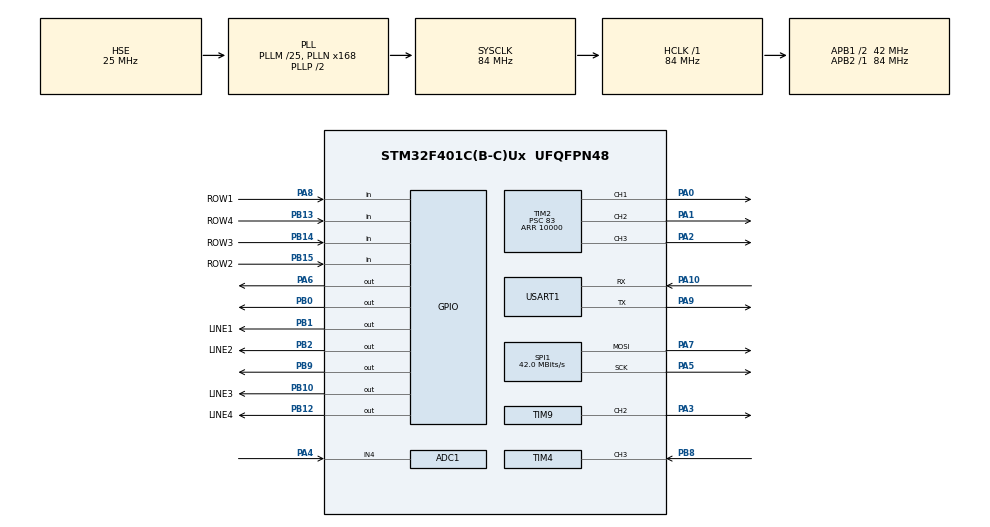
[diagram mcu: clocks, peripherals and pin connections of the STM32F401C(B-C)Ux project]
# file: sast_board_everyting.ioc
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ADC1.Channel-0\#ChannelRegularConversion=ADC_CHANNEL_4
ADC1.ClockPrescaler=ADC_CLOCK_SYNC_PCLK_DIV8
ADC1.ContinuousConvMode=DISABLE
ADC1.NbrOfConversionFlag=1
ADC1.Rank-0\#ChannelRegularConversion=1
ADC1.SamplingTime-0\#ChannelRegularConversion=ADC_SAMPLETIME_3CYCLES
ADC1.master=1
Dma.ADC1.0.Direction=DMA_PERIPH_TO_MEMORY
Dma.ADC1.0.FIFOMode=DMA_FIFOMODE_DISABLE
Dma.ADC1.0.Instance=DMA2_Stream0
Dma.ADC1.0.MemDataAlignment=DMA_MDATAALIGN_WORD
Dma.ADC1.0.MemInc=DMA_MINC_ENABLE
Dma.ADC1.0.Mode=DMA_NORMAL
Dma.ADC1.0.PeriphDataAlignment=DMA_PDATAALIGN_WORD
Dma.ADC1.0.PeriphInc=DMA_PINC_DISABLE
Dma.ADC1.0.Priority=DMA_PRIORITY_LOW
Dma.Request0=ADC1
Dma.Request1=USART1_RX
Dma.Request2=USART1_TX
Dma.USART1_RX.1.Direction=DMA_PERIPH_TO_MEMORY
Dma.USART1_RX.1.FIFOMode=DMA_FIFOMODE_DISABLE
Dma.USART1_RX.1.Instance=DMA2_Stream2
Dma.USART1_RX.1.MemDataAlignment=DMA_MDATAALIGN_BYTE
Dma.USART1_RX.1.MemInc=DMA_MINC_ENABLE
Dma.USART1_RX.1.Mode=DMA_NORMAL
Dma.USART1_RX.1.PeriphDataAlignment=DMA_PDATAALIGN_BYTE
Dma.USART1_RX.1.PeriphInc=DMA_PINC_DISABLE
Dma.USART1_RX.1.Priority=DMA_PRIORITY_LOW
Dma.USART1_TX.2.Direction=DMA_MEMORY_TO_PERIPH
Dma.USART1_TX.2.FIFOMode=DMA_FIFOMODE_DISABLE
Dma.USART1_TX.2.Instance=DMA2_Stream7
Dma.USART1_TX.2.MemDataAlignment=DMA_MDATAALIGN_BYTE
Dma.USART1_TX.2.MemInc=DMA_MINC_ENABLE
Dma.USART1_TX.2.Mode=DMA_NORMAL
Dma.USART1_TX.2.PeriphDataAlignment=DMA_PDATAALIGN_BYTE
Dma.USART1_TX.2.PeriphInc=DMA_PINC_DISABLE
Dma.USART1_TX.2.Priority=DMA_PRIORITY_LOW
Mcu.Family=STM32F4
Mcu.Name=STM32F401C(B-C)Ux
Mcu.Package=UFQFPN48
NVIC.ADC_IRQn=true\:0\:0\:false\:false\:true\:true\:true\:true
NVIC.DMA2_Stream0_IRQn=true\:0\:0\:false\:false\:true\:false\:true\:true
NVIC.DMA2_Stream2_IRQn=true\:0\:0\:false\:false\:true\:false\:true\:true
NVIC.DMA2_Stream7_IRQn=true\:0\:0\:false\:false\:true\:false\:true\:true
NVIC.PriorityGroup=NVIC_PRIORITYGROUP_4
NVIC.TIM1_BRK_TIM9_IRQn=true\:0\:0\:false\:false\:true\:true\:true\:true
NVIC.TIM1_TRG_COM_TIM11_IRQn=true\:0\:0\:false\:false\:true\:true\:true\:true
NVIC.TIM1_UP_TIM10_IRQn=true\:0\:0\:false\:false\:true\:true\:true\:true
NVIC.TIM2_IRQn=true\:0\:0\:false\:false\:true\:true\:true\:true
NVIC.TIM4_IRQn=true\:0\:0\:false\:false\:true\:true\:true\:true
NVIC.USART1_IRQn=true\:0\:0\:false\:false\:true\:false\:true\:true
PA0-WKUP.Signal=S_TIM2_CH1_ETR
PA1.Signal=S_TIM2_CH2
PA10.Mode=Asynchronous
PA10.Signal=USART1_RX
PA13.Mode=Serial_Wire
PA13.Signal=SYS_JTMS-SWDIO
PA14.Mode=Serial_Wire
PA14.Signal=SYS_JTCK-SWCLK
PA2.Signal=S_TIM2_CH3
PA3.Signal=S_TIM9_CH2
PA4.Signal=ADCx_IN4
PA5.Mode=TX_Only_Simplex_Unidirect_Master
PA5.Signal=SPI1_SCK
PA6.GPIO_Speed=GPIO_SPEED_FREQ_HIGH
PA6.Signal=GPIO_Output
PA7.Mode=TX_Only_Simplex_Unidirect_Master
PA7.Signal=SPI1_MOSI
PA8.GPIO_Label=ROW1
PA8.GPIO_PuPd=GPIO_PULLDOWN
PA8.Signal=GPIO_Input
PA9.Mode=Asynchronous
PA9.Signal=USART1_TX
PB0.GPIO_Speed=GPIO_SPEED_FREQ_HIGH
PB0.Signal=GPIO_Output
PB1.GPIO_Label=LINE1
PB1.Signal=GPIO_Output
PB10.GPIO_Label=LINE3
PB10.Signal=GPIO_Output
PB12.GPIO_Label=LINE4
PB12.Signal=GPIO_Output
PB13.GPIO_Label=ROW4
PB13.GPIO_PuPd=GPIO_PULLDOWN
PB13.Signal=GPIO_Input
PB14.GPIO_Label=ROW3
PB14.GPIO_PuPd=GPIO_PULLDOWN
PB14.Signal=GPIO_Input
PB15.GPIO_Label=ROW2
PB15.GPIO_PuPd=GPIO_PULLDOWN
PB15.Signal=GPIO_Input
PB2.GPIO_Label=LINE2
PB2.Signal=GPIO_Output
PB8.Signal=S_TIM4_CH3
PB9.Signal=GPIO_Output
PH0\ -\ OSC_IN.Mode=HSE-External-Oscillator
PH0\ -\ OSC_IN.Signal=RCC_OSC_IN
PH1\ -\ OSC_OUT.Mode=HSE-External-Oscillator
PH1\ -\ OSC_OUT.Signal=RCC_OSC_OUT
ProjectManager.HeapSize=0x200
ProjectManager.StackSize=0x400
ProjectManager.TargetToolchain=STM32CubeIDE
RCC.48MHZClocksFreq_Value=42000000
RCC.AHBFreq_Value=84000000
RCC.APB1CLKDivider=RCC_HCLK_DIV2
RCC.APB1Freq_Value=42000000
RCC.APB1TimFreq_Value=84000000
RCC.APB2Freq_Value=84000000
RCC.APB2TimFreq_Value=84000000
RCC.CortexFreq_Value=84000000
RCC.HCLKFreq_Value=84000000
RCC.HSE_VALUE=25000000
RCC.HSI_VALUE=16000000
RCC.LSE_VALUE=32768
RCC.PLLM=25
RCC.PLLN=168
RCC.PLLSourceVirtual=RCC_PLLSOURCE_HSE
RCC.SYSCLKFreq_VALUE=84000000
RCC.SYSCLKSource=RCC_SYSCLKSOURCE_PLLCLK
RCC.VCOOutputFreq_Value=168000000
SH.ADCx_IN4.0=ADC1_IN4,IN4
SH.S_TIM2_CH1_ETR.0=TIM2_CH1,PWM Generation1 CH1
SH.S_TIM2_CH2.0=TIM2_CH2,PWM Generation2 CH2
SH.S_TIM2_CH3.0=TIM2_CH3,PWM Generation3 CH3
SH.S_TIM4_CH3.0=TIM4_CH3,Input_Capture3_from_TI3
SH.S_TIM9_CH2.0=TIM9_CH2,PWM Generation2 CH2
SPI1.CalculateBaudRate=42.0 MBits/s
SPI1.Direction=SPI_DIRECTION_2LINES
SPI1.Mode=SPI_MODE_MASTER
SPI1.VirtualType=VM_MASTER
TIM10.Period=9
TIM10.Prescaler=83
TIM11.Period=9999
TIM11.Prescaler=83
TIM2.Channel-PWM\ Generation1\ CH1=TIM_CHANNEL_1
TIM2.Channel-PWM\ Generation2\ CH2=TIM_CHANNEL_2
TIM2.Channel-PWM\ Generation3\ CH3=TIM_CHANNEL_3
TIM2.Period=10000
TIM2.Prescaler=83
TIM4.Channel-Input_Capture3_from_TI3=TIM_CHANNEL_3
TIM4.Channel-Input_Capture4_from_TI3_63=TIM_CHANNEL_4
TIM4.Prescaler=84-1
TIM9.Channel-PWM\ Generation2\ CH2=TIM_CHANNEL_2
TIM9.Period=1000
TIM9.Prescaler=83
TIM9.Pulse-PWM\ Generation2\ CH2=100
USART1.VirtualMode=VM_ASYNC
VP_TIM10_VS_ClockSourceINT.Mode=Enable_Timer
VP_TIM11_VS_ClockSourceINT.Mode=Enable_Timer
VP_TIM2_VS_ClockSourceINT.Mode=Internal
VP_TIM4_VS_ClockSourceINT.Mode=Internal
VP_TIM4_VS_indirect_ch3.Mode=Input_Capture4_from_TI3_63
VP_TIM9_VS_ClockSourceINT.Mode=Internal
board=custom

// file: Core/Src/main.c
/* USER CODE BEGIN Header */
/**
  ******************************************************************************
  * @file           : main.c
  * @brief          : Main program body
  ******************************************************************************
  * @attention
  *
  * Copyright (c) 2025 STMicroelectronics.
  * All rights reserved.
  *
  * This software is licensed under terms that can be found in the LICENSE file
  * in the root directory of this software component.
  * If no LICENSE file comes with this software, it is provided AS-IS.
  *
  ******************************************************************************
  */
/* USER CODE END Header */
#include "main.h"
#include "adc.h"
#include "dma.h"
#include "spi.h"
#include "tim.h"
#include "usart.h"
#include "gpio.h"

/* USER CODE BEGIN Includes */
#include "keyboard.h"
#include "../Hardware/sast_lib_st7735s.h"
#include <stdio.h>
#include "../Hardware/my_tim.h"
#include "../Hardware/countdown.h"
#include "rgb_led.h"
#include "key_callbacks.h"
#include "../Hardware/my_adc.h"
#include "../Hardware/HC_SR04.h"
/* USER CODE END Includes */

void SystemClock_Config(void);
/* USER CODE BEGIN PFP */
void Key_Process(void);
/* USER CODE END PFP */

int main(void)
{

  /* MCU Configuration--------------------------------------------------------*/

  /* Reset of all peripherals, Initializes the Flash interface and the Systick. */
  HAL_Init();

  /* Configure the system clock */
  SystemClock_Config();

  /* Initialize all configured peripherals */
  MX_GPIO_Init();
  MX_DMA_Init();
  MX_SPI1_Init();
  MX_TIM2_Init();
  MX_TIM9_Init();
  MX_TIM11_Init();
  MX_ADC1_Init();
  MX_TIM10_Init();
  MX_USART1_UART_Init();
  MX_TIM4_Init();
  /* USER CODE BEGIN 2 */

  HAL_Delay(10);
  st7735s_init();
  st7735s_fill_rect(0, 0, ST7735S_W, ST7735S_H, ST7735S_BLACK);
  st7735s_printf(0, 0, ST7735S_WHITE, ST7735S_BLACK, ST7735S_SIZE_1608, ST7735S_NON_OVERLAY_MODE, "Waiting for key...");
  buzzer_init();
  // Register example callbacks
  Key_Register_All_Callbacks();
  RGB_Init();

  //RGB_Set_Color(0,0,255); // Blue at start
  My_ADC_Init();
  HAL_TIM_Base_Start_IT(&htim10);
  HAL_TIM_Base_Start_IT(&htim11);

  /* USER CODE END 2 */

  /* Infinite loop */
  /* USER CODE BEGIN WHILE */
  while (1)
  {
    Key_Process();
    My_ADC_Process();
    adc_show();
    //HAL_Delay(100);
    /* USER CODE END WHILE */

  }
}

void SystemClock_Config(void)
{
  RCC_OscInitTypeDef RCC_OscInitStruct = {0};
  RCC_ClkInitTypeDef RCC_ClkInitStruct = {0};

  /** Configure the main internal regulator output voltage
  */
  __HAL_RCC_PWR_CLK_ENABLE();
  __HAL_PWR_VOLTAGESCALING_CONFIG(PWR_REGULATOR_VOLTAGE_SCALE2);

  /** Initializes the RCC Oscillators according to the specified parameters
  * in the RCC_OscInitTypeDef structure.
  */
  RCC_OscInitStruct.OscillatorType = RCC_OSCILLATORTYPE_HSE;
  RCC_OscInitStruct.HSEState = RCC_HSE_ON;
  RCC_OscInitStruct.PLL.PLLState = RCC_PLL_ON;
  RCC_OscInitStruct.PLL.PLLSource = RCC_PLLSOURCE_HSE;
  RCC_OscInitStruct.PLL.PLLM = 25;
  RCC_OscInitStruct.PLL.PLLN = 168;
  RCC_OscInitStruct.PLL.PLLP = RCC_PLLP_DIV2;
  RCC_OscInitStruct.PLL.PLLQ = 4;
  if (HAL_RCC_OscConfig(&RCC_OscInitStruct) != HAL_OK)
  {
    Error_Handler();
  }

  /** Initializes the CPU, AHB and APB buses clocks
  */
  RCC_ClkInitStruct.ClockType = RCC_CLOCKTYPE_HCLK|RCC_CLOCKTYPE_SYSCLK
                              |RCC_CLOCKTYPE_PCLK1|RCC_CLOCKTYPE_PCLK2;
  RCC_ClkInitStruct.SYSCLKSource = RCC_SYSCLKSOURCE_PLLCLK;
  RCC_ClkInitStruct.AHBCLKDivider = RCC_SYSCLK_DIV1;
  RCC_ClkInitStruct.APB1CLKDivider = RCC_HCLK_DIV2;
  RCC_ClkInitStruct.APB2CLKDivider = RCC_HCLK_DIV1;

  if (HAL_RCC_ClockConfig(&RCC_ClkInitStruct, FLASH_LATENCY_2) != HAL_OK)
  {
    Error_Handler();
  }
}

/* USER CODE BEGIN 4 */
void HAL_TIM_PeriodElapsedCallback(TIM_HandleTypeDef *htim)
{
    if (htim->Instance == TIM11)
    {
        Key_Scan_Tick();
        countdown_tick(); // Also update countdown timer
        RGB_Breathing_Tick(); // Update breathing effect
        buzzer_tick(); // Update buzzer beep
    }
    if (htim->Instance == TIM10)
    {
        My_ADC_TIM10_Callback();
    }
}

void Key_Process(void)
{
    int key = Key_Get_Event();
    if (key != 0)
    {
        // Handle key press
        countdown_control(key);

        // Execute registered callback for this key
        Key_Execute_Callback(key);

        // Display pressed key on screen
        st7735s_printf(0, 0, ST7735S_WHITE, ST7735S_BLACK, ST7735S_SIZE_1608, ST7735S_NON_OVERLAY_MODE, "Key Pressed: %d  ", key);

        // Example: Add more handlers here
        // switch(key) { ... }
    }
}
/* USER CODE END 4 */

void Error_Handler(void)
{
  __disable_irq();
  while (1)
  {
  }
}
